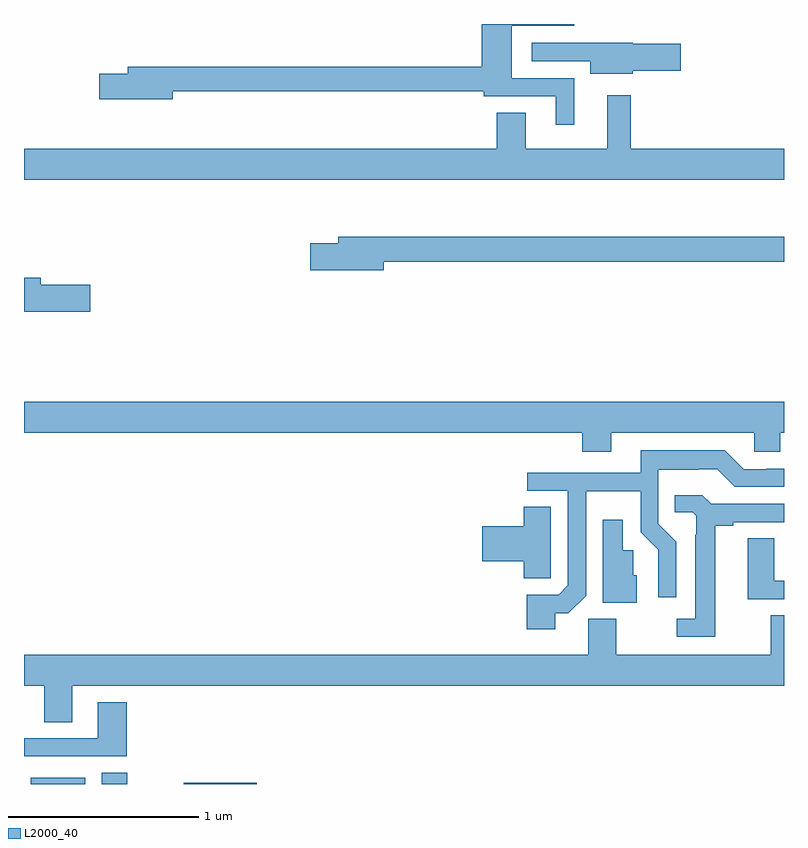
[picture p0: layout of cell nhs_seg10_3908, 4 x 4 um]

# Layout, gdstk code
import gdstk
lib = gdstk.Library(unit=1e-6, precision=1e-09)
def R(c, l, rs):  # rectangles x0, y0, x1, y1
    for r in rs: c.add(gdstk.rectangle(r[:2], r[2:], *l))
def P(c, l, *ps):  # polygons
    for p in ps: c.add(gdstk.Polygon(p, *l))
L2000_40 = (2000, 40)

nhs_seg10_3908 = lib.new_cell('nhs_seg10_3908')
R(nhs_seg10_3908, L2000_40, [(327.035,1266.5,327.322,1266.532), (327.41,1266.5,327.544,1266.56), (327.84,1266.5,328.224,1266.506)])
P(nhs_seg10_3908, L2000_40, [(329.896,1270.215),(329.566,1270.215),(329.566,1270.49),(329.896,1270.49),(329.896,1270.5),(329.408,1270.5),(329.408,1270.274),(327.545,1270.274),(327.545,1270.238),(327.396,1270.238),(327.396,1270.103),(327.784,1270.103),(327.784,1270.146),(329.42,1270.146),(329.42,1270.119),(329.798,1270.119),(329.798,1269.969),(329.896,1269.969)],
  [(330.204,1270.255),(330.457,1270.255),(330.457,1270.397),(330.204,1270.397),(330.204,1270.402),(329.985,1270.402),(329.985,1270.401),(329.673,1270.401),(329.673,1270.305),(329.981,1270.305),(329.981,1270.238),(330.204,1270.238)],
  [(331,1269.844),(330.193,1269.844),(330.193,1270.126),(330.071,1270.126),(330.071,1269.844),(329.641,1269.844),(329.641,1270.034),(329.489,1270.034),(329.489,1269.844),(327,1269.844),(327,1269.68),(331,1269.68)],
  [(328.894,1269.25),(331,1269.25),(331,1269.379),(328.655,1269.379),(328.655,1269.345),(328.506,1269.345),(328.506,1269.203),(328.894,1269.203)],
  [(327.349,1269.128),(327.088,1269.128),(327.088,1269.164),(327,1269.164),(327,1268.986),(327.349,1268.986)],
  [(330.091,1268.348),(330.843,1268.348),(330.843,1268.25),(330.981,1268.25),(330.981,1268.348),(331,1268.348),(331,1268.512),(327,1268.512),(327,1268.348),(329.939,1268.348),(329.939,1268.249),(330.091,1268.249)],
  [(329.797,1267.399),(329.865,1267.399),(329.958,1267.491),(329.958,1268.042),(330.246,1268.042),(330.246,1267.826),(330.338,1267.734),(330.338,1267.482),(330.432,1267.482),(330.432,1267.776),(330.339,1267.869),(330.339,1268.153),(330.548,1268.153),(330.548,1268.157),(330.648,1268.157),(330.741,1268.064),(331,1268.064),(331,1268.16),(330.906,1268.16),(330.906,1268.157),(330.789,1268.157),(330.689,1268.257),(330.245,1268.257),(330.245,1268.139),(329.649,1268.139),(329.649,1268.043),(329.862,1268.043),(329.862,1267.545),(329.814,1267.497),(329.645,1267.497),(329.645,1267.314),(329.797,1267.314)],
  [(330.637,1267.858),(330.733,1267.858),(330.733,1267.878),(331,1267.878),(331,1267.974),(330.618,1267.974),(330.57,1268.021),(330.424,1268.021),(330.424,1267.929),(330.519,1267.929),(330.537,1267.911),(330.537,1267.811),(330.533,1267.811),(330.533,1267.371),(330.435,1267.371),(330.435,1267.275),(330.637,1267.275)],
  [(329.772,1267.69),(329.773,1267.69),(329.773,1267.958),(329.63,1267.958),(329.63,1267.856),(329.412,1267.856),(329.412,1267.673),(329.63,1267.673),(329.63,1267.582),(329.772,1267.582)],
  [(330.226,1267.599),(330.207,1267.599),(330.207,1267.731),(330.151,1267.731),(330.151,1267.891),(330.047,1267.891),(330.047,1267.454),(330.226,1267.454)],
  [(331,1267.569),(330.948,1267.569),(330.948,1267.793),(330.809,1267.793),(330.809,1267.473),(331,1267.473)],
  [(327.253,1267.016),(331,1267.016),(331,1267.388),(330.929,1267.388),(330.929,1267.18),(330.117,1267.18),(330.117,1267.369),(329.97,1267.369),(329.97,1267.18),(327,1267.18),(327,1267.016),(327.106,1267.016),(327.106,1266.826),(327.253,1266.826)],
  [(327.542,1266.931),(327.389,1266.931),(327.389,1266.741),(327,1266.741),(327,1266.645),(327.542,1266.645)])

lib.write_gds('nhs_seg10_3908.gds')
